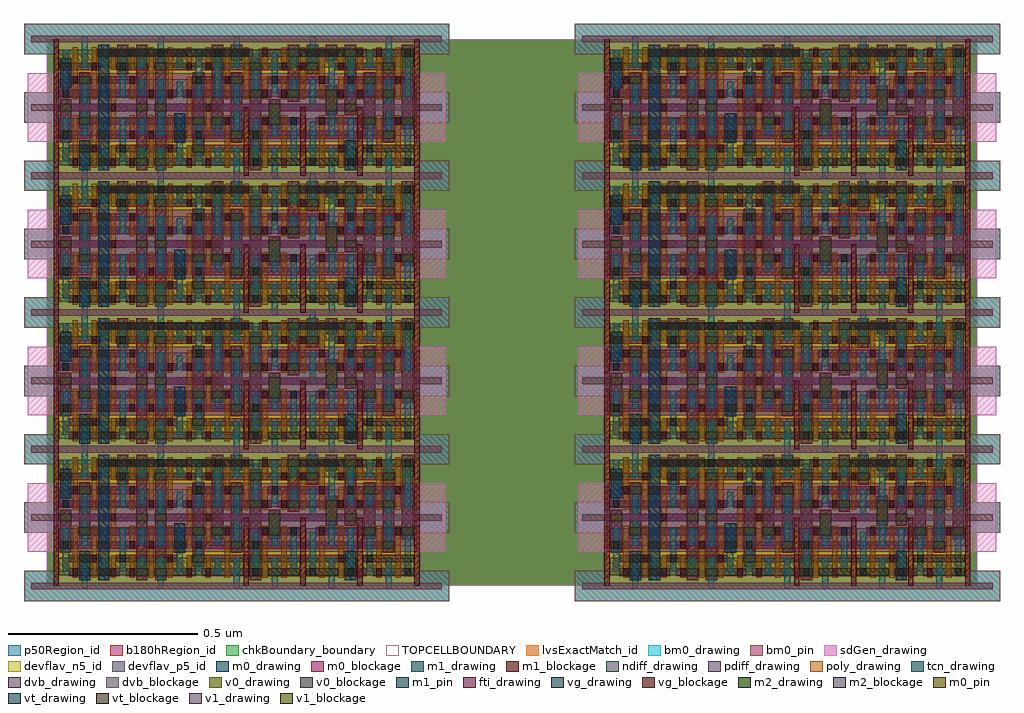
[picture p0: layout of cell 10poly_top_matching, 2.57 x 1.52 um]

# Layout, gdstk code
import gdstk
lib = gdstk.Library(unit=1e-6, precision=5e-10)
def R(c, l, rs):  # rectangles x0, y0, x1, y1
    for r in rs: c.add(gdstk.rectangle(r[:2], r[2:], *l))
def A(c, l, x, y, w, h, nx, ny, dx, dy):  # array of equal rectangles
    R(c, l, [(x+i*dx, y+j*dy, x+i*dx+w, y+j*dy+h) for i in range(nx) for j in range(ny)])
ndiff_drawing = (1, 0)
poly_drawing = (2, 0)
m1_drawing = (4, 0)
m1_blockage = (4, 1)
m1_pin = (4, 2)
tcn_drawing = (5, 0)
pdiff_drawing = (8, 0)
sdGen_drawing = (11, 0)
m2_drawing = (14, 0)
m2_blockage = (14, 1)
vt_drawing = (31, 0)
vt_blockage = (31, 1)
vg_drawing = (32, 0)
vg_blockage = (32, 1)
v1_drawing = (43, 0)
v1_blockage = (43, 1)
chkBoundary_boundary = (50, 0)
TOPCELLBOUNDARY = (50, 99)
m0_drawing = (55, 0)
m0_blockage = (55, 1)
m0_pin = (55, 2)
v0_drawing = (56, 0)
v0_blockage = (56, 1)
lvsExactMatch_id = (81, 434)
b180hRegion_id = (82, 137)
p50Region_id = (82, 420)
fti_drawing = (184, 0)
devflav_n5_id = (273, 170)
devflav_p5_id = (273, 171)
bm0_drawing = (366, 0)
bm0_pin = (366, 2)
dvb_drawing = (474, 0)
dvb_blockage = (474, 1)

ibmfuz200aa1d02x5 = lib.new_cell('ibmfuz200aa1d02x5')
A(ibmfuz200aa1d02x5, ndiff_drawing, 0.507, 0.028, 0.136, 0.046, 3, 1, 0.15, 0)
R(ibmfuz200aa1d02x5, ndiff_drawing, [(0.007,0.028,0.493,0.074), (0.007,0.286,0.943,0.332)])
A(ibmfuz200aa1d02x5, poly_drawing, 0.493, 0.021, 0.014, 0.06, 4, 2, 0.15, 0.078)
R(ibmfuz200aa1d02x5, poly_drawing, [(-0.007,0.021,0.007,0.081), (0.043,0.021,0.057,0.159), (0.093,0.021,0.107,0.159), (0.143,0.021,0.157,0.081), (0.193,0.021,0.207,0.081), (0.243,0.021,0.257,0.159), (0.293,0.021,0.307,0.159), (0.343,0.021,0.357,0.081), (0.393,0.021,0.407,0.081), (0.443,0.021,0.457,0.159), (0.543,0.021,0.557,0.159), (0.593,0.021,0.607,0.159), (0.693,0.021,0.707,0.159), (0.743,0.021,0.757,0.159), (0.843,0.021,0.857,0.159), (0.893,0.021,0.907,0.159), (-0.007,0.099,0.007,0.159), (0.143,0.099,0.157,0.261), (0.193,0.099,0.207,0.159), (0.343,0.099,0.357,0.261), (0.393,0.099,0.407,0.261), (-0.007,0.201,0.007,0.261), (0.043,0.201,0.057,0.339), (0.093,0.201,0.107,0.339), (0.193,0.201,0.207,0.261), (0.243,0.201,0.257,0.339), (0.293,0.201,0.307,0.339), (0.443,0.201,0.457,0.339), (0.493,0.201,0.507,0.339), (0.543,0.201,0.557,0.261), (0.593,0.201,0.607,0.261), (0.643,0.201,0.657,0.339), (0.693,0.201,0.707,0.339), (0.743,0.201,0.757,0.261), (0.793,0.201,0.807,0.261), (0.843,0.201,0.857,0.339), (0.893,0.201,0.907,0.339), (0.943,0.201,0.957,0.261), (-0.007,0.279,0.007,0.339), (0.143,0.279,0.157,0.339), (0.193,0.279,0.207,0.339), (0.343,0.279,0.357,0.339), (0.393,0.279,0.407,0.339), (0.543,0.279,0.557,0.339), (0.593,0.279,0.607,0.339), (0.743,0.279,0.757,0.339), (0.793,0.279,0.807,0.339), (0.943,0.279,0.957,0.339)])
R(ibmfuz200aa1d02x5, m1_drawing, [(0.06,0.015,0.09,0.093), (0.11,0.015,0.14,0.345), (0.21,0.015,0.24,0.345), (0.26,0.015,0.29,0.309), (0.51,0.015,0.54,0.309), (0.76,0.015,0.79,0.093), (0.36,0.051,0.39,0.273), (0.01,0.087,0.04,0.201), (0.31,0.087,0.34,0.165), (0.46,0.087,0.49,0.273), (0.86,0.087,0.89,0.309), (0.06,0.123,0.09,0.273), (0.41,0.123,0.44,0.345), (0.56,0.123,0.59,0.201), (0.81,0.123,0.84,0.273), (0.91,0.123,0.94,0.345), (0.71,0.159,0.74,0.237), (0.76,0.159,0.79,0.345), (0.61,0.195,0.64,0.345), (0.01,0.231,0.04,0.309), (0.16,0.267,0.19,0.345), (0.66,0.267,0.69,0.345), (0.46,0.303,0.49,0.345), (0.71,0.303,0.74,0.345)])
R(ibmfuz200aa1d02x5, m1_blockage, [(0.21,0.015,0.24,0.345), (0.26,0.015,0.29,0.309), (0.51,0.015,0.54,0.309), (0.36,0.051,0.39,0.273), (0.01,0.087,0.04,0.201), (0.46,0.087,0.49,0.273), (0.86,0.087,0.89,0.309), (0.06,0.123,0.09,0.273), (0.41,0.123,0.44,0.345), (0.56,0.123,0.59,0.201), (0.81,0.123,0.84,0.273), (0.91,0.123,0.94,0.345), (0.71,0.159,0.74,0.237), (0.76,0.159,0.79,0.345), (0.61,0.195,0.64,0.345), (0.16,0.267,0.19,0.345), (0.66,0.267,0.69,0.345), (0.46,0.303,0.49,0.345), (0.71,0.303,0.74,0.345)])
R(ibmfuz200aa1d02x5, m1_pin, [(0.06,0.015,0.09,0.093), (0.11,0.015,0.14,0.345), (0.76,0.015,0.79,0.093), (0.31,0.087,0.34,0.165), (0.01,0.231,0.04,0.309)])
A(ibmfuz200aa1d02x5, tcn_drawing, 0.067, -0.007, 0.016, 0.081, 3, 1, 0.2, 0)
A(ibmfuz200aa1d02x5, tcn_drawing, 0.567, -0.007, 0.016, 0.081, 3, 1, 0.15, 0)
A(ibmfuz200aa1d02x5, tcn_drawing, 0.017, 0.038, 0.016, 0.114, 3, 1, 0.15, 0)
A(ibmfuz200aa1d02x5, tcn_drawing, 0.067, 0.106, 0.016, 0.148, 3, 1, 0.2, 0)
A(ibmfuz200aa1d02x5, tcn_drawing, 0.067, 0.286, 0.016, 0.081, 5, 1, 0.2, 0)
R(ibmfuz200aa1d02x5, tcn_drawing, [(0.517,0.026,0.533,0.142), (0.667,0.026,0.683,0.142), (0.767,0.026,0.783,0.152), (0.917,0.026,0.933,0.142), (0.117,0.034,0.133,0.074), (0.217,0.034,0.233,0.074), (0.417,0.034,0.433,0.074), (0.367,0.038,0.383,0.152), (0.617,0.038,0.633,0.154), (0.817,0.038,0.833,0.152), (0.567,0.106,0.583,0.187), (0.717,0.106,0.733,0.187), (0.867,0.106,0.883,0.254), (0.117,0.112,0.133,0.152), (0.217,0.112,0.233,0.152), (0.417,0.112,0.433,0.152), (0.667,0.173,0.683,0.254), (0.017,0.206,0.033,0.332), (0.117,0.208,0.133,0.248), (0.167,0.208,0.183,0.322), (0.317,0.208,0.333,0.248), (0.367,0.208,0.383,0.332), (0.417,0.208,0.433,0.334), (0.917,0.208,0.933,0.334), (0.217,0.214,0.233,0.254), (0.617,0.214,0.633,0.254), (0.817,0.214,0.833,0.254), (0.517,0.218,0.533,0.322), (0.567,0.218,0.583,0.322), (0.717,0.218,0.733,0.334), (0.767,0.218,0.783,0.322), (0.117,0.286,0.133,0.326), (0.217,0.286,0.233,0.326), (0.817,0.286,0.833,0.326), (0.317,0.292,0.333,0.332), (0.617,0.292,0.633,0.332)])
A(ibmfuz200aa1d02x5, pdiff_drawing, 0.507, 0.106, 0.136, 0.046, 3, 1, 0.15, 0)
R(ibmfuz200aa1d02x5, pdiff_drawing, [(0.007,0.106,0.493,0.152), (0.007,0.208,0.943,0.254)])
R(ibmfuz200aa1d02x5, sdGen_drawing, [(-0.075,0.09,1.025,0.27)])
R(ibmfuz200aa1d02x5, m2_drawing, [(0.1425,0.314,0.5075,0.334), (0.6425,0.314,0.7575,0.334)])
R(ibmfuz200aa1d02x5, m2_blockage, [(0.1425,0.314,0.5075,0.334), (0.6425,0.314,0.7575,0.334)])
A(ibmfuz200aa1d02x5, vt_drawing, 0.367, 0.242, 0.016, 0.02, 3, 1, 0.2, 0)
R(ibmfuz200aa1d02x5, vt_drawing, [(0.517,0.026,0.533,0.046), (0.667,0.026,0.683,0.046), (0.767,0.026,0.783,0.046), (0.917,0.026,0.933,0.046), (0.167,0.062,0.183,0.082), (0.817,0.062,0.833,0.082), (0.017,0.098,0.033,0.118), (0.367,0.098,0.383,0.118), (0.517,0.098,0.533,0.118), (0.617,0.134,0.633,0.154), (0.017,0.206,0.033,0.226), (0.167,0.278,0.183,0.298), (0.267,0.314,0.283,0.334), (0.417,0.314,0.433,0.334), (0.717,0.314,0.733,0.334), (0.917,0.314,0.933,0.334)])
A(ibmfuz200aa1d02x5, vt_blockage, 0.367, 0.242, 0.016, 0.02, 3, 1, 0.2, 0)
R(ibmfuz200aa1d02x5, vt_blockage, [(0.517,0.026,0.533,0.046), (0.667,0.026,0.683,0.046), (0.767,0.026,0.783,0.046), (0.917,0.026,0.933,0.046), (0.167,0.062,0.183,0.082), (0.817,0.062,0.833,0.082), (0.017,0.098,0.033,0.118), (0.367,0.098,0.383,0.118), (0.517,0.098,0.533,0.118), (0.617,0.134,0.633,0.154), (0.017,0.206,0.033,0.226), (0.167,0.278,0.183,0.298), (0.267,0.314,0.283,0.334), (0.417,0.314,0.433,0.334), (0.717,0.314,0.733,0.334), (0.917,0.314,0.933,0.334)])
A(ibmfuz200aa1d02x5, vg_drawing, 0.143, 0.026, 0.014, 0.02, 1, 3, 0, 0.144)
A(ibmfuz200aa1d02x5, vg_drawing, 0.243, 0.206, 0.014, 0.02, 3, 1, 0.05, 0)
A(ibmfuz200aa1d02x5, vg_drawing, 0.193, 0.242, 0.014, 0.02, 3, 1, 0.25, 0)
R(ibmfuz200aa1d02x5, vg_drawing, [(0.043,0.026,0.057,0.046), (0.193,0.026,0.207,0.046), (0.343,0.026,0.357,0.046), (0.393,0.026,0.407,0.046), (0.593,0.026,0.607,0.046), (0.843,0.026,0.857,0.046), (0.093,0.062,0.107,0.082), (0.293,0.062,0.307,0.082), (0.743,0.062,0.757,0.082), (0.193,0.098,0.207,0.118), (0.243,0.098,0.257,0.118), (0.443,0.134,0.457,0.154), (0.543,0.134,0.557,0.154), (0.693,0.134,0.707,0.154), (0.893,0.134,0.907,0.154), (0.393,0.17,0.407,0.19), (0.543,0.206,0.557,0.226), (0.593,0.206,0.607,0.226), (0.743,0.206,0.757,0.226), (0.793,0.206,0.807,0.226), (0.043,0.242,0.057,0.262), (0.893,0.242,0.907,0.262), (0.093,0.278,0.107,0.298), (0.343,0.278,0.357,0.298), (0.393,0.278,0.407,0.298), (0.593,0.278,0.607,0.298), (0.643,0.278,0.657,0.298), (0.743,0.278,0.757,0.298), (0.193,0.314,0.207,0.334), (0.493,0.314,0.507,0.334), (0.543,0.314,0.557,0.334), (0.793,0.314,0.807,0.334), (0.843,0.314,0.857,0.334)])
A(ibmfuz200aa1d02x5, vg_blockage, 0.143, 0.026, 0.014, 0.02, 1, 3, 0, 0.144)
A(ibmfuz200aa1d02x5, vg_blockage, 0.243, 0.206, 0.014, 0.02, 3, 1, 0.05, 0)
A(ibmfuz200aa1d02x5, vg_blockage, 0.193, 0.242, 0.014, 0.02, 3, 1, 0.25, 0)
R(ibmfuz200aa1d02x5, vg_blockage, [(0.043,0.026,0.057,0.046), (0.193,0.026,0.207,0.046), (0.343,0.026,0.357,0.046), (0.393,0.026,0.407,0.046), (0.593,0.026,0.607,0.046), (0.843,0.026,0.857,0.046), (0.093,0.062,0.107,0.082), (0.293,0.062,0.307,0.082), (0.743,0.062,0.757,0.082), (0.193,0.098,0.207,0.118), (0.243,0.098,0.257,0.118), (0.443,0.134,0.457,0.154), (0.543,0.134,0.557,0.154), (0.693,0.134,0.707,0.154), (0.893,0.134,0.907,0.154), (0.393,0.17,0.407,0.19), (0.543,0.206,0.557,0.226), (0.593,0.206,0.607,0.226), (0.743,0.206,0.757,0.226), (0.793,0.206,0.807,0.226), (0.043,0.242,0.057,0.262), (0.893,0.242,0.907,0.262), (0.093,0.278,0.107,0.298), (0.343,0.278,0.357,0.298), (0.393,0.278,0.407,0.298), (0.593,0.278,0.607,0.298), (0.643,0.278,0.657,0.298), (0.743,0.278,0.757,0.298), (0.193,0.314,0.207,0.334), (0.493,0.314,0.507,0.334), (0.543,0.314,0.557,0.334), (0.793,0.314,0.807,0.334), (0.843,0.314,0.857,0.334)])
R(ibmfuz200aa1d02x5, v1_drawing, [(0.16,0.314,0.19,0.334), (0.46,0.314,0.49,0.334), (0.66,0.314,0.69,0.334), (0.71,0.314,0.74,0.334)])
R(ibmfuz200aa1d02x5, v1_blockage, [(0.16,0.314,0.19,0.334), (0.46,0.314,0.49,0.334), (0.66,0.314,0.69,0.334), (0.71,0.314,0.74,0.334)])
R(ibmfuz200aa1d02x5, chkBoundary_boundary, [(0,0,0.95,0.36)])
R(ibmfuz200aa1d02x5, m0_drawing, [(0.033,0.026,0.167,0.046), (0.183,0.026,0.242,0.046), (0.258,0.026,0.367,0.046), (0.383,0.026,0.542,0.046), (0.558,0.026,0.642,0.046), (0.658,0.026,0.742,0.046), (0.758,0.026,0.817,0.046), (0.833,0.026,0.942,0.046), (0.033,0.062,0.117,0.082), (0.158,0.062,0.317,0.082), (0.358,0.062,0.767,0.082), (0.808,0.062,0.942,0.082), (0.008,0.098,0.092,0.118), (0.108,0.098,0.217,0.118), (0.233,0.098,0.342,0.118), (0.358,0.098,0.492,0.118), (0.508,0.098,0.892,0.118), (0.058,0.134,0.392,0.154), (0.408,0.134,0.467,0.154), (0.533,0.134,0.642,0.154), (0.683,0.134,0.842,0.154), (0.858,0.134,0.942,0.154), (0.008,0.17,0.242,0.19), (0.258,0.17,0.792,0.19), (0.008,0.206,0.317,0.226), (0.333,0.206,0.567,0.226), (0.583,0.206,0.767,0.226), (0.783,0.206,0.892,0.226), (0.033,0.242,0.092,0.262), (0.108,0.242,0.217,0.262), (0.358,0.242,0.417,0.262), (0.433,0.242,0.492,0.262), (0.558,0.242,0.717,0.262), (0.758,0.242,0.917,0.262), (0.008,0.278,0.117,0.298), (0.158,0.278,0.242,0.298), (0.258,0.278,0.367,0.298), (0.383,0.278,0.617,0.298), (0.633,0.278,0.692,0.298), (0.733,0.278,0.892,0.298), (0.108,0.314,0.167,0.334), (0.183,0.314,0.242,0.334), (0.258,0.314,0.342,0.334), (0.383,0.314,0.442,0.334), (0.458,0.314,0.517,0.334), (0.533,0.314,0.642,0.334), (0.683,0.314,0.742,0.334), (0.758,0.314,0.817,0.334), (0.833,0.314,0.942,0.334)])
R(ibmfuz200aa1d02x5, m0_blockage, [(0.033,0.026,0.167,0.046), (0.183,0.026,0.242,0.046), (0.258,0.026,0.367,0.046), (0.383,0.026,0.542,0.046), (0.758,0.026,0.817,0.046), (0.833,0.026,0.942,0.046), (0.033,0.062,0.117,0.082), (0.158,0.062,0.317,0.082), (0.358,0.062,0.767,0.082), (0.008,0.098,0.092,0.118), (0.108,0.098,0.217,0.118), (0.233,0.098,0.342,0.118), (0.358,0.098,0.492,0.118), (0.508,0.098,0.892,0.118), (0.058,0.134,0.392,0.154), (0.408,0.134,0.467,0.154), (0.533,0.134,0.642,0.154), (0.683,0.134,0.842,0.154), (0.858,0.134,0.942,0.154), (0.008,0.17,0.242,0.19), (0.258,0.17,0.792,0.19), (0.008,0.206,0.317,0.226), (0.333,0.206,0.567,0.226), (0.583,0.206,0.767,0.226), (0.783,0.206,0.892,0.226), (0.033,0.242,0.092,0.262), (0.108,0.242,0.217,0.262), (0.358,0.242,0.417,0.262), (0.433,0.242,0.492,0.262), (0.558,0.242,0.717,0.262), (0.758,0.242,0.917,0.262), (0.008,0.278,0.117,0.298), (0.158,0.278,0.242,0.298), (0.258,0.278,0.367,0.298), (0.383,0.278,0.617,0.298), (0.633,0.278,0.692,0.298), (0.733,0.278,0.892,0.298), (0.108,0.314,0.167,0.334), (0.183,0.314,0.242,0.334), (0.383,0.314,0.442,0.334), (0.458,0.314,0.517,0.334), (0.533,0.314,0.642,0.334), (0.683,0.314,0.742,0.334), (0.758,0.314,0.817,0.334), (0.833,0.314,0.942,0.334)])
R(ibmfuz200aa1d02x5, m0_pin, [(0.558,0.026,0.642,0.046), (0.658,0.026,0.742,0.046), (0.808,0.062,0.942,0.082), (0.258,0.314,0.342,0.334)])
A(ibmfuz200aa1d02x5, v0_drawing, 0.21, 0.026, 0.03, 0.02, 1, 3, 0, 0.144)
A(ibmfuz200aa1d02x5, v0_drawing, 0.26, 0.026, 0.03, 0.02, 3, 1, 0.25, 0)
R(ibmfuz200aa1d02x5, v0_drawing, [(0.11,0.026,0.14,0.046), (0.06,0.062,0.09,0.082), (0.36,0.062,0.39,0.082), (0.01,0.098,0.04,0.118), (0.11,0.098,0.14,0.118), (0.31,0.098,0.34,0.118), (0.46,0.098,0.49,0.118), (0.51,0.098,0.54,0.118), (0.86,0.098,0.89,0.118), (0.06,0.134,0.09,0.154), (0.36,0.134,0.39,0.154), (0.41,0.134,0.44,0.154), (0.56,0.134,0.59,0.19), (0.81,0.134,0.84,0.154), (0.91,0.134,0.94,0.154), (0.01,0.17,0.04,0.19), (0.26,0.17,0.29,0.19), (0.71,0.17,0.74,0.226), (0.76,0.17,0.79,0.19), (0.51,0.206,0.54,0.226), (0.61,0.206,0.64,0.226), (0.86,0.206,0.89,0.226), (0.06,0.242,0.09,0.262), (0.11,0.242,0.14,0.262), (0.36,0.242,0.39,0.262), (0.46,0.242,0.49,0.262), (0.81,0.242,0.84,0.262), (0.01,0.278,0.04,0.298), (0.16,0.278,0.19,0.298), (0.26,0.278,0.29,0.298), (0.51,0.278,0.54,0.298), (0.66,0.278,0.69,0.298), (0.86,0.278,0.89,0.298), (0.11,0.314,0.14,0.334), (0.41,0.314,0.44,0.334), (0.46,0.314,0.49,0.334), (0.61,0.314,0.64,0.334), (0.71,0.314,0.74,0.334), (0.76,0.314,0.79,0.334), (0.91,0.314,0.94,0.334)])
A(ibmfuz200aa1d02x5, v0_blockage, 0.21, 0.026, 0.03, 0.02, 1, 3, 0, 0.144)
A(ibmfuz200aa1d02x5, v0_blockage, 0.26, 0.026, 0.03, 0.02, 3, 1, 0.25, 0)
R(ibmfuz200aa1d02x5, v0_blockage, [(0.11,0.026,0.14,0.046), (0.06,0.062,0.09,0.082), (0.36,0.062,0.39,0.082), (0.01,0.098,0.04,0.118), (0.11,0.098,0.14,0.118), (0.31,0.098,0.34,0.118), (0.46,0.098,0.49,0.118), (0.51,0.098,0.54,0.118), (0.86,0.098,0.89,0.118), (0.06,0.134,0.09,0.154), (0.36,0.134,0.39,0.154), (0.41,0.134,0.44,0.154), (0.56,0.134,0.59,0.19), (0.81,0.134,0.84,0.154), (0.91,0.134,0.94,0.154), (0.01,0.17,0.04,0.19), (0.26,0.17,0.29,0.19), (0.71,0.17,0.74,0.226), (0.76,0.17,0.79,0.19), (0.51,0.206,0.54,0.226), (0.61,0.206,0.64,0.226), (0.86,0.206,0.89,0.226), (0.06,0.242,0.09,0.262), (0.11,0.242,0.14,0.262), (0.36,0.242,0.39,0.262), (0.46,0.242,0.49,0.262), (0.81,0.242,0.84,0.262), (0.01,0.278,0.04,0.298), (0.16,0.278,0.19,0.298), (0.26,0.278,0.29,0.298), (0.51,0.278,0.54,0.298), (0.66,0.278,0.69,0.298), (0.86,0.278,0.89,0.298), (0.11,0.314,0.14,0.334), (0.41,0.314,0.44,0.334), (0.46,0.314,0.49,0.334), (0.61,0.314,0.64,0.334), (0.71,0.314,0.74,0.334), (0.76,0.314,0.79,0.334), (0.91,0.314,0.94,0.334)])
R(ibmfuz200aa1d02x5, lvsExactMatch_id, [(0,0,0.95,0.36)])
R(ibmfuz200aa1d02x5, b180hRegion_id, [(-0.025,0,0.975,0.36)])
R(ibmfuz200aa1d02x5, p50Region_id, [(-0.025,0,0.975,0.36)])
A(ibmfuz200aa1d02x5, fti_drawing, 0.493, 0, 0.014, 0.18, 3, 1, 0.15, 0)
R(ibmfuz200aa1d02x5, fti_drawing, [(-0.007,0,0.007,0.36), (0.943,0,0.957,0.36)])
R(ibmfuz200aa1d02x5, devflav_n5_id, [(0,0,0.95,0.09), (0,0.27,0.95,0.36)])
R(ibmfuz200aa1d02x5, devflav_p5_id, [(0,0.09,0.95,0.27)])
A(ibmfuz200aa1d02x5, bm0_drawing, -0.085, -0.04, 1.12, 0.08, 1, 3, 0, 0.18)
A(ibmfuz200aa1d02x5, bm0_pin, -0.085, -0.04, 1.12, 0.08, 1, 3, 0, 0.18)
R(ibmfuz200aa1d02x5, dvb_drawing, [(-0.0655,-0.009,1.0155,0.009), (-0.0655,0.171,0.1155,0.189), (0.1845,0.171,0.3155,0.189), (0.4345,0.171,1.0155,0.189), (-0.0655,0.351,1.0155,0.369)])
R(ibmfuz200aa1d02x5, dvb_blockage, [(-0.0655,-0.009,1.0155,0.009), (-0.0655,0.171,0.1155,0.189), (0.1845,0.171,0.3155,0.189), (0.4345,0.171,1.0155,0.189), (-0.0655,0.351,1.0155,0.369)])
ibmfuz200aa1d02x5.add(gdstk.Label('nc1', (0.55,0.09), layer=2, texttype=0))
ibmfuz200aa1d02x5.add(gdstk.Label('clk', (0.6,0.09), layer=2, texttype=0))
ibmfuz200aa1d02x5.add(gdstk.Label('nc2', (0.4,0.051), layer=2, texttype=0))
ibmfuz200aa1d02x5.add(gdstk.Label('nc1', (0.35,0.051), layer=2, texttype=0))
ibmfuz200aa1d02x5.add(gdstk.Label('si', (0.25,0.09), layer=2, texttype=0))
ibmfuz200aa1d02x5.add(gdstk.Label('ssb', (0.15,0.051), layer=2, texttype=0))
ibmfuz200aa1d02x5.add(gdstk.Label('nc1', (0.55,0.309), layer=2, texttype=0))
ibmfuz200aa1d02x5.add(gdstk.Label('nk24', (0.65,0.27), layer=2, texttype=0))
ibmfuz200aa1d02x5.add(gdstk.Label('nc2', (0.75,0.309), layer=2, texttype=0))
ibmfuz200aa1d02x5.add(gdstk.Label('nk26', (0.9,0.09), layer=2, texttype=0))
ibmfuz200aa1d02x5.add(gdstk.Label('nso2', (0.85,0.09), layer=2, texttype=0))
ibmfuz200aa1d02x5.add(gdstk.Label('nk15', (0.75,0.09), layer=2, texttype=0))
ibmfuz200aa1d02x5.add(gdstk.Label('nk25', (0.7,0.09), layer=2, texttype=0))
ibmfuz200aa1d02x5.add(gdstk.Label('nk15', (0.05,0.27), layer=2, texttype=0))
ibmfuz200aa1d02x5.add(gdstk.Label('ssb', (0.15,0.309), layer=2, texttype=0))
ibmfuz200aa1d02x5.add(gdstk.Label('nk16', (0.25,0.27), layer=2, texttype=0))
ibmfuz200aa1d02x5.add(gdstk.Label('n111', (0.2,0.309), layer=2, texttype=0))
ibmfuz200aa1d02x5.add(gdstk.Label('d2', (0.1,0.27), layer=2, texttype=0))
ibmfuz200aa1d02x5.add(gdstk.Label('nk13', (0.45,0.27), layer=2, texttype=0))
ibmfuz200aa1d02x5.add(gdstk.Label('nc2', (0.4,0.309), layer=2, texttype=0))
ibmfuz200aa1d02x5.add(gdstk.Label('nk16', (0.3,0.27), layer=2, texttype=0))
ibmfuz200aa1d02x5.add(gdstk.Label('n21', (0.5,0.27), layer=2, texttype=0))
ibmfuz200aa1d02x5.add(gdstk.Label('nc1', (0.35,0.309), layer=2, texttype=0))
ibmfuz200aa1d02x5.add(gdstk.Label('nk25', (0.9,0.27), layer=2, texttype=0))
ibmfuz200aa1d02x5.add(gdstk.Label('nk26', (0.85,0.27), layer=2, texttype=0))
ibmfuz200aa1d02x5.add(gdstk.Label('nc1', (0.8,0.309), layer=2, texttype=0))
ibmfuz200aa1d02x5.add(gdstk.Label('nk23', (0.7,0.27), layer=2, texttype=0))
ibmfuz200aa1d02x5.add(gdstk.Label('nc2', (0.6,0.309), layer=2, texttype=0))
ibmfuz200aa1d02x5.add(gdstk.Label('d1', (0.1,0.09), layer=2, texttype=0))
ibmfuz200aa1d02x5.add(gdstk.Label('n111', (0.2,0.051), layer=2, texttype=0))
ibmfuz200aa1d02x5.add(gdstk.Label('ssb', (0.05,0.09), layer=2, texttype=0))
ibmfuz200aa1d02x5.add(gdstk.Label('n11', (0.3,0.09), layer=2, texttype=0))
ibmfuz200aa1d02x5.add(gdstk.Label('nk14', (0.45,0.09), layer=2, texttype=0))
ibmfuz200aa1d02x5.add(gdstk.Label('nc2', (0.35,0.18), layer=2, texttype=0))
ibmfuz200aa1d02x5.add(gdstk.Label('nc1', (0.4,0.18), layer=2, texttype=0))
ibmfuz200aa1d02x5.add(gdstk.Label('ssb', (0.2,0.231), layer=2, texttype=0))
ibmfuz200aa1d02x5.add(gdstk.Label('n111', (0.15,0.18), layer=2, texttype=0))
ibmfuz200aa1d02x5.add(gdstk.Label('ssb', (0.2,0.129), layer=2, texttype=0))
ibmfuz200aa1d02x5.add(gdstk.Label('nc2', (0.55,0.231), layer=2, texttype=0))
ibmfuz200aa1d02x5.add(gdstk.Label('nc2', (0.8,0.231), layer=2, texttype=0))
ibmfuz200aa1d02x5.add(gdstk.Label('nc1', (0.75,0.231), layer=2, texttype=0))
ibmfuz200aa1d02x5.add(gdstk.Label('nc1', (0.6,0.231), layer=2, texttype=0))
ibmfuz200aa1d02x5.add(gdstk.Label('o1', (0.775,0.054), layer=4, texttype=0))
ibmfuz200aa1d02x5.add(gdstk.Label('d1', (0.075,0.054), layer=4, texttype=0))
ibmfuz200aa1d02x5.add(gdstk.Label('d2', (0.025,0.27), layer=4, texttype=0))
ibmfuz200aa1d02x5.add(gdstk.Label('si', (0.325,0.126), layer=4, texttype=0))
ibmfuz200aa1d02x5.add(gdstk.Label('ssb', (0.125,0.18), layer=4, texttype=0))
ibmfuz200aa1d02x5.add(gdstk.Label('d2', (0.025,0.27), layer=4, texttype=0))
ibmfuz200aa1d02x5.add(gdstk.Label('d1', (0.075,0.054), layer=4, texttype=0))
ibmfuz200aa1d02x5.add(gdstk.Label('nk15', (0.075,0.198), layer=4, texttype=0))
ibmfuz200aa1d02x5.add(gdstk.Label('ssb', (0.125,0.18), layer=4, texttype=0))
ibmfuz200aa1d02x5.add(gdstk.Label('n21', (0.175,0.306), layer=4, texttype=0))
ibmfuz200aa1d02x5.add(gdstk.Label('n111', (0.225,0.18), layer=4, texttype=0))
ibmfuz200aa1d02x5.add(gdstk.Label('nc1', (0.275,0.162), layer=4, texttype=0))
ibmfuz200aa1d02x5.add(gdstk.Label('si', (0.325,0.126), layer=4, texttype=0))
ibmfuz200aa1d02x5.add(gdstk.Label('nk15', (0.375,0.162), layer=4, texttype=0))
ibmfuz200aa1d02x5.add(gdstk.Label('nk14', (0.425,0.234), layer=4, texttype=0))
ibmfuz200aa1d02x5.add(gdstk.Label('nk13', (0.475,0.18), layer=4, texttype=0))
ibmfuz200aa1d02x5.add(gdstk.Label('nc2', (0.525,0.162), layer=4, texttype=0))
ibmfuz200aa1d02x5.add(gdstk.Label('nc1', (0.625,0.27), layer=4, texttype=0))
ibmfuz200aa1d02x5.add(gdstk.Label('nk24', (0.675,0.306), layer=4, texttype=0))
ibmfuz200aa1d02x5.add(gdstk.Label('o1', (0.775,0.054), layer=4, texttype=0))
ibmfuz200aa1d02x5.add(gdstk.Label('nc1', (0.775,0.252), layer=4, texttype=0))
ibmfuz200aa1d02x5.add(gdstk.Label('nk25', (0.825,0.198), layer=4, texttype=0))
ibmfuz200aa1d02x5.add(gdstk.Label('nc2', (0.875,0.198), layer=4, texttype=0))
ibmfuz200aa1d02x5.add(gdstk.Label('nk26', (0.925,0.234), layer=4, texttype=0))
ibmfuz200aa1d02x5.add(gdstk.Label('n21', (0.475,0.324), layer=4, texttype=0))
ibmfuz200aa1d02x5.add(gdstk.Label('n111', (0.025,0.144), layer=4, texttype=0))
ibmfuz200aa1d02x5.add(gdstk.Label('nk24', (0.725,0.324), layer=4, texttype=0))
ibmfuz200aa1d02x5.add(gdstk.Label('nc1', (0.725,0.198), layer=4, texttype=0))
ibmfuz200aa1d02x5.add(gdstk.Label('nc1', (0.575,0.162), layer=4, texttype=0))
ibmfuz200aa1d02x5.add(gdstk.Label('o1', (0.775,0.054), layer=4, texttype=2))
ibmfuz200aa1d02x5.add(gdstk.Label('d1', (0.075,0.054), layer=4, texttype=2))
ibmfuz200aa1d02x5.add(gdstk.Label('d2', (0.025,0.27), layer=4, texttype=2))
ibmfuz200aa1d02x5.add(gdstk.Label('si', (0.325,0.126), layer=4, texttype=2))
ibmfuz200aa1d02x5.add(gdstk.Label('ssb', (0.125,0.18), layer=4, texttype=2))
ibmfuz200aa1d02x5.add(gdstk.Label('nc2', (0.525,0.084), layer=5, texttype=0))
ibmfuz200aa1d02x5.add(gdstk.Label('nc1', (0.625,0.096), layer=5, texttype=0))
ibmfuz200aa1d02x5.add(gdstk.Label('nk13', (0.375,0.095), layer=5, texttype=0))
ibmfuz200aa1d02x5.add(gdstk.Label('n11', (0.175,0.095), layer=5, texttype=0))
ibmfuz200aa1d02x5.add(gdstk.Label('nk23', (0.575,0.27), layer=5, texttype=0))
ibmfuz200aa1d02x5.add(gdstk.Label('nk25', (0.775,0.27), layer=5, texttype=0))
ibmfuz200aa1d02x5.add(gdstk.Label('nk24', (0.725,0.276), layer=5, texttype=0))
ibmfuz200aa1d02x5.add(gdstk.Label('nso2', (0.925,0.084), layer=5, texttype=0))
ibmfuz200aa1d02x5.add(gdstk.Label('o1', (0.775,0.089), layer=5, texttype=0))
ibmfuz200aa1d02x5.add(gdstk.Label('o2', (0.675,0.084), layer=5, texttype=0))
ibmfuz200aa1d02x5.add(gdstk.Label('nk16', (0.025,0.269), layer=5, texttype=0))
ibmfuz200aa1d02x5.add(gdstk.Label('n21', (0.175,0.265), layer=5, texttype=0))
ibmfuz200aa1d02x5.add(gdstk.Label('vssx', (0.275,0.3265), layer=5, texttype=0))
ibmfuz200aa1d02x5.add(gdstk.Label('nk14', (0.425,0.271), layer=5, texttype=0))
ibmfuz200aa1d02x5.add(gdstk.Label('nk15', (0.375,0.27), layer=5, texttype=0))
ibmfuz200aa1d02x5.add(gdstk.Label('nk26', (0.925,0.271), layer=5, texttype=0))
ibmfuz200aa1d02x5.add(gdstk.Label('vssx', (0.075,0.0335), layer=5, texttype=0))
ibmfuz200aa1d02x5.add(gdstk.Label('n111', (0.025,0.095), layer=5, texttype=0))
ibmfuz200aa1d02x5.add(gdstk.Label('vssx', (0.475,0.0335), layer=5, texttype=0))
ibmfuz200aa1d02x5.add(gdstk.Label('n22', (0.525,0.27), layer=5, texttype=0))
ibmfuz200aa1d02x5.add(gdstk.Label('vcc', (0.675,0.2135), layer=5, texttype=0))
ibmfuz200aa1d02x5.add(gdstk.Label('gd21|n1', (0.625,0.234), layer=5, texttype=0))
ibmfuz200aa1d02x5.add(gdstk.Label('n12', (0.325,0.095), layer=5, texttype=0))
ibmfuz200aa1d02x5.add(gdstk.Label('so', (0.825,0.095), layer=5, texttype=0))
ibmfuz200aa1d02x5.add(gdstk.Label('vssx', (0.875,0.3265), layer=5, texttype=0))
ibmfuz200aa1d02x5.add(gdstk.Label('vcc', (0.875,0.18), layer=5, texttype=0))
ibmfuz200aa1d02x5.add(gdstk.Label('vssx', (0.875,0.0335), layer=5, texttype=0))
ibmfuz200aa1d02x5.add(gdstk.Label('gd22|n2', (0.825,0.306), layer=5, texttype=0))
ibmfuz200aa1d02x5.add(gdstk.Label('gd22|n1', (0.825,0.234), layer=5, texttype=0))
ibmfuz200aa1d02x5.add(gdstk.Label('vcc', (0.725,0.1465), layer=5, texttype=0))
ibmfuz200aa1d02x5.add(gdstk.Label('vssx', (0.725,0.0335), layer=5, texttype=0))
ibmfuz200aa1d02x5.add(gdstk.Label('vssx', (0.675,0.3265), layer=5, texttype=0))
ibmfuz200aa1d02x5.add(gdstk.Label('gd21|n2', (0.625,0.312), layer=5, texttype=0))
ibmfuz200aa1d02x5.add(gdstk.Label('vcc', (0.575,0.1465), layer=5, texttype=0))
ibmfuz200aa1d02x5.add(gdstk.Label('vssx', (0.575,0.0335), layer=5, texttype=0))
ibmfuz200aa1d02x5.add(gdstk.Label('vssx', (0.475,0.3265), layer=5, texttype=0))
ibmfuz200aa1d02x5.add(gdstk.Label('vcc', (0.475,0.18), layer=5, texttype=0))
ibmfuz200aa1d02x5.add(gdstk.Label('gd11|n1', (0.425,0.132), layer=5, texttype=0))
ibmfuz200aa1d02x5.add(gdstk.Label('gd11|n2', (0.425,0.054), layer=5, texttype=0))
ibmfuz200aa1d02x5.add(gdstk.Label('gd12|n2', (0.325,0.312), layer=5, texttype=0))
ibmfuz200aa1d02x5.add(gdstk.Label('gd12|n1', (0.325,0.228), layer=5, texttype=0))
ibmfuz200aa1d02x5.add(gdstk.Label('vcc', (0.275,0.18), layer=5, texttype=0))
ibmfuz200aa1d02x5.add(gdstk.Label('vssx', (0.275,0.0335), layer=5, texttype=0))
ibmfuz200aa1d02x5.add(gdstk.Label('g1242|n2', (0.225,0.306), layer=5, texttype=0))
ibmfuz200aa1d02x5.add(gdstk.Label('g1242|n1', (0.225,0.234), layer=5, texttype=0))
ibmfuz200aa1d02x5.add(gdstk.Label('g1241|n1', (0.225,0.132), layer=5, texttype=0))
ibmfuz200aa1d02x5.add(gdstk.Label('g1241|n2', (0.225,0.054), layer=5, texttype=0))
ibmfuz200aa1d02x5.add(gdstk.Label('g9012|n2', (0.125,0.306), layer=5, texttype=0))
ibmfuz200aa1d02x5.add(gdstk.Label('g9012|n1', (0.125,0.228), layer=5, texttype=0))
ibmfuz200aa1d02x5.add(gdstk.Label('g9011|n1', (0.125,0.132), layer=5, texttype=0))
ibmfuz200aa1d02x5.add(gdstk.Label('g9011|n2', (0.125,0.054), layer=5, texttype=0))
ibmfuz200aa1d02x5.add(gdstk.Label('vssx', (0.075,0.3265), layer=5, texttype=0))
ibmfuz200aa1d02x5.add(gdstk.Label('vcc', (0.075,0.18), layer=5, texttype=0))
ibmfuz200aa1d02x5.add(gdstk.Label('nk24', (0.7,0.324), layer=14, texttype=0))
ibmfuz200aa1d02x5.add(gdstk.Label('n21', (0.325,0.324), layer=14, texttype=0))
ibmfuz200aa1d02x5.add(gdstk.Label('clk', (0.6,0.036), layer=55, texttype=0))
ibmfuz200aa1d02x5.add(gdstk.Label('o2', (0.7,0.036), layer=55, texttype=0))
ibmfuz200aa1d02x5.add(gdstk.Label('so', (0.875,0.072), layer=55, texttype=0))
ibmfuz200aa1d02x5.add(gdstk.Label('vssx', (0.3,0.324), layer=55, texttype=0))
ibmfuz200aa1d02x5.add(gdstk.Label('n111', (0.125,0.18), layer=55, texttype=0))
ibmfuz200aa1d02x5.add(gdstk.Label('d2', (0.0625,0.288), layer=55, texttype=0))
ibmfuz200aa1d02x5.add(gdstk.Label('d1', (0.075,0.072), layer=55, texttype=0))
ibmfuz200aa1d02x5.add(gdstk.Label('nk15', (0.225,0.144), layer=55, texttype=0))
ibmfuz200aa1d02x5.add(gdstk.Label('ssb', (0.1625,0.252), layer=55, texttype=0))
ibmfuz200aa1d02x5.add(gdstk.Label('n111', (0.2125,0.036), layer=55, texttype=0))
ibmfuz200aa1d02x5.add(gdstk.Label('nc1', (0.525,0.18), layer=55, texttype=0))
ibmfuz200aa1d02x5.add(gdstk.Label('si', (0.2875,0.108), layer=55, texttype=0))
ibmfuz200aa1d02x5.add(gdstk.Label('nk14', (0.4125,0.324), layer=55, texttype=0))
ibmfuz200aa1d02x5.add(gdstk.Label('nk13', (0.425,0.108), layer=55, texttype=0))
ibmfuz200aa1d02x5.add(gdstk.Label('nk13', (0.4625,0.252), layer=55, texttype=0))
ibmfuz200aa1d02x5.add(gdstk.Label('nc2', (0.7,0.108), layer=55, texttype=0))
ibmfuz200aa1d02x5.add(gdstk.Label('nc1', (0.5875,0.324), layer=55, texttype=0))
ibmfuz200aa1d02x5.add(gdstk.Label('nk25', (0.8375,0.252), layer=55, texttype=0))
ibmfuz200aa1d02x5.add(gdstk.Label('nc2', (0.8375,0.216), layer=55, texttype=0))
ibmfuz200aa1d02x5.add(gdstk.Label('nc2', (0.8125,0.288), layer=55, texttype=0))
ibmfuz200aa1d02x5.add(gdstk.Label('n11', (0.2375,0.072), layer=55, texttype=0))
ibmfuz200aa1d02x5.add(gdstk.Label('n21', (0.2,0.288), layer=55, texttype=0))
ibmfuz200aa1d02x5.add(gdstk.Label('nk15', (0.3875,0.252), layer=55, texttype=0))
ibmfuz200aa1d02x5.add(gdstk.Label('nc2', (0.4625,0.036), layer=55, texttype=0))
ibmfuz200aa1d02x5.add(gdstk.Label('nk23', (0.6375,0.252), layer=55, texttype=0))
ibmfuz200aa1d02x5.add(gdstk.Label('nk24', (0.7125,0.324), layer=55, texttype=0))
ibmfuz200aa1d02x5.add(gdstk.Label('o1', (0.7875,0.036), layer=55, texttype=0))
ibmfuz200aa1d02x5.add(gdstk.Label('so', (0.875,0.072), layer=55, texttype=0))
ibmfuz200aa1d02x5.add(gdstk.Label('nso2', (0.8875,0.036), layer=55, texttype=0))
ibmfuz200aa1d02x5.add(gdstk.Label('nk26', (0.8875,0.324), layer=55, texttype=0))
ibmfuz200aa1d02x5.add(gdstk.Label('ssb', (0.1625,0.108), layer=55, texttype=0))
ibmfuz200aa1d02x5.add(gdstk.Label('nc1', (0.3125,0.288), layer=55, texttype=0))
ibmfuz200aa1d02x5.add(gdstk.Label('nc2', (0.5,0.288), layer=55, texttype=0))
ibmfuz200aa1d02x5.add(gdstk.Label('nk15', (0.0625,0.252), layer=55, texttype=0))
ibmfuz200aa1d02x5.add(gdstk.Label('ssb', (0.1,0.036), layer=55, texttype=0))
ibmfuz200aa1d02x5.add(gdstk.Label('ssb', (0.1375,0.324), layer=55, texttype=0))
ibmfuz200aa1d02x5.add(gdstk.Label('n111', (0.2125,0.324), layer=55, texttype=0))
ibmfuz200aa1d02x5.add(gdstk.Label('nk16', (0.1625,0.216), layer=55, texttype=0))
ibmfuz200aa1d02x5.add(gdstk.Label('nc1', (0.3125,0.036), layer=55, texttype=0))
ibmfuz200aa1d02x5.add(gdstk.Label('nk14', (0.4375,0.144), layer=55, texttype=0))
ibmfuz200aa1d02x5.add(gdstk.Label('n21', (0.4875,0.324), layer=55, texttype=0))
ibmfuz200aa1d02x5.add(gdstk.Label('nc1', (0.5875,0.144), layer=55, texttype=0))
ibmfuz200aa1d02x5.add(gdstk.Label('nc2', (0.45,0.216), layer=55, texttype=0))
ibmfuz200aa1d02x5.add(gdstk.Label('clk', (0.6,0.036), layer=55, texttype=0))
ibmfuz200aa1d02x5.add(gdstk.Label('nc1', (0.675,0.216), layer=55, texttype=0))
ibmfuz200aa1d02x5.add(gdstk.Label('nk24', (0.6625,0.288), layer=55, texttype=0))
ibmfuz200aa1d02x5.add(gdstk.Label('nk25', (0.7625,0.144), layer=55, texttype=0))
ibmfuz200aa1d02x5.add(gdstk.Label('nk15', (0.5625,0.072), layer=55, texttype=0))
ibmfuz200aa1d02x5.add(gdstk.Label('nc1', (0.7875,0.324), layer=55, texttype=0))
ibmfuz200aa1d02x5.add(gdstk.Label('nk26', (0.9,0.144), layer=55, texttype=0))
ibmfuz200aa1d02x5.add(gdstk.Label('n111', (0.05,0.108), layer=55, texttype=0))
ibmfuz200aa1d02x5.add(gdstk.Label('o2', (0.7,0.036), layer=55, texttype=0))
ibmfuz200aa1d02x5.add(gdstk.Label('vssx', (0.3,0.324), layer=55, texttype=0))
ibmfuz200aa1d02x5.add(gdstk.Label('clk', (0.6,0.036), layer=55, texttype=2))
ibmfuz200aa1d02x5.add(gdstk.Label('o2', (0.7,0.036), layer=55, texttype=2))
ibmfuz200aa1d02x5.add(gdstk.Label('so', (0.875,0.072), layer=55, texttype=2))
ibmfuz200aa1d02x5.add(gdstk.Label('vssx', (0.3,0.324), layer=55, texttype=2))
ibmfuz200aa1d02x5.add(gdstk.Label('vcc', (0.475,0.18), layer=366, texttype=0))
ibmfuz200aa1d02x5.add(gdstk.Label('vssx', (0.475,0), layer=366, texttype=0))
ibmfuz200aa1d02x5.add(gdstk.Label('vssx', (0.475,0.36), layer=366, texttype=0))
ibmfuz200aa1d02x5.add(gdstk.Label('vssx', (0.475,0.36), layer=366, texttype=0))
ibmfuz200aa1d02x5.add(gdstk.Label('vcc', (0.475,0.18), layer=366, texttype=0))
ibmfuz200aa1d02x5.add(gdstk.Label('vssx', (0.475,0), layer=366, texttype=0))
ibmfuz200aa1d02x5.add(gdstk.Label('vcc', (0.475,0.18), layer=366, texttype=2))
ibmfuz200aa1d02x5.add(gdstk.Label('vssx', (0.475,0), layer=366, texttype=2))
ibmfuz200aa1d02x5.add(gdstk.Label('vssx', (0.475,0.36), layer=366, texttype=2))

c_10poly_top_matching = lib.new_cell('10poly_top_matching')
R(c_10poly_top_matching, chkBoundary_boundary, [(0,0,2.45,1.44)])
R(c_10poly_top_matching, TOPCELLBOUNDARY, [(0,0,2.45,1.44)])
R(c_10poly_top_matching, b180hRegion_id, [(0,0,2.45,1.44)])
R(c_10poly_top_matching, p50Region_id, [(0,0,2.45,1.44)])
c_10poly_top_matching.add(gdstk.Reference(ibmfuz200aa1d02x5, (0.025,0.36)))
c_10poly_top_matching.add(gdstk.Reference(ibmfuz200aa1d02x5, (1.475,0)))
c_10poly_top_matching.add(gdstk.Reference(ibmfuz200aa1d02x5, (0.025,0)))
c_10poly_top_matching.add(gdstk.Reference(ibmfuz200aa1d02x5, (1.475,0.36)))
c_10poly_top_matching.add(gdstk.Reference(ibmfuz200aa1d02x5, (1.475,0.72)))
c_10poly_top_matching.add(gdstk.Reference(ibmfuz200aa1d02x5, (0.025,0.72)))
c_10poly_top_matching.add(gdstk.Reference(ibmfuz200aa1d02x5, (1.475,1.08)))
c_10poly_top_matching.add(gdstk.Reference(ibmfuz200aa1d02x5, (0.025,1.08)))

lib.write_gds('10poly_top_matching.gds')
